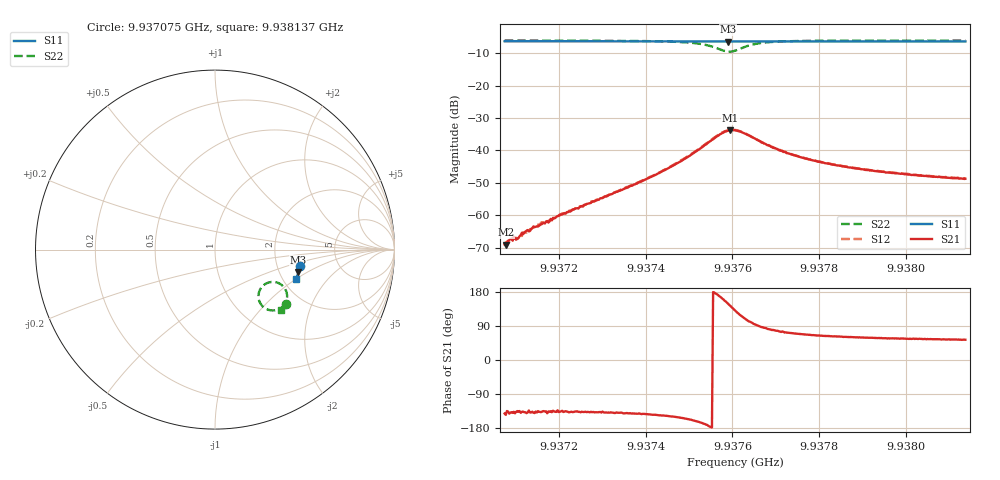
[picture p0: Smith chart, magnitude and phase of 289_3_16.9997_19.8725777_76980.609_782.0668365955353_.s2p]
#  HZ  S  RI  R  50.00
! Rohde & Schwarz Vector Network Analyzer
! Rohde-Schwarz,ZNB20-2Port,1311601062101988,3.16
! Created: UTC 3/20/2024, 11:05:02 PM
! freq[Hz]  re:S11  im:S11  re:S21  im:S21  re:S12  im:S12  re:S22  im:S22
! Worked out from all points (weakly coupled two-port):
!   401 points, 9.937075 GHz to 9.938137 GHz, reference 50 ohm
!   highest |S21| = -33.74 dB at 9.937595 GHz (marker M1); lowest = -69.1 dB at 9.937078 GHz (marker M2)
!   lowest |S11| = -6.4 dB at 9.93759 GHz (marker M3), VSWR 2.84, Z = 127 - j41.3 ohm
!   |S11| at or under -10 dB: nowhere
!   |S22| runs from -9.5 to -6.1 dB; largest |S21 - S12| = 0.00078
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9.9370749e9  0.4754 -0.0925  -0.000279 -0.000225  -0.000257 -0.00021  0.3944 -0.304
9.9370776e9  0.4754 -0.0927  -0.000286 -0.000202  -0.000296 -0.000227  0.3941 -0.3042
9.9370909e9  0.4752 -0.0936  -0.000323 -0.000293  -0.000314 -0.00026  0.3931 -0.3051
9.9371041e9  0.475 -0.0946  -0.000303 -0.000305  -0.000337 -0.000269  0.3922 -0.306
9.9371201e9  0.4746 -0.0955  -0.000393 -0.000356  -0.000415 -0.000348  0.3911 -0.3071
9.9371572e9  0.474 -0.0982  -0.000524 -0.000482  -0.000546 -0.000488  0.3882 -0.3099
9.9371997e9  0.4732 -0.1009  -0.000721 -0.000664  -0.00072 -0.000676  0.3846 -0.3133
9.9372528e9  0.4721 -0.1046  -0.001 -0.000953  -0.00102 -0.000921  0.3795 -0.3177
9.9374307e9  0.4684 -0.1167  -0.00369 -0.00248  -0.00377 -0.00252  0.3476 -0.3356
9.9374838e9  0.4669 -0.1202  -0.0062 -0.00316  -0.00639 -0.00314  0.3236 -0.3394
9.9375342e9  0.4652 -0.1237  -0.0115 -0.00237  -0.0118 -0.0022  0.2798 -0.3275
9.9375687e9  0.4637 -0.1254  -0.0168 0.0032  -0.0172 0.00363  0.2435 -0.2758
9.93759e9  0.463 -0.1258  -0.0172 0.0106  -0.0169 0.0113  0.2541 -0.2177
9.9375953e9  0.463 -0.126  -0.0163 0.0125  -0.016 0.013  0.2644 -0.2043
9.9376059e9  0.463 -0.1262  -0.0134 0.0155  -0.013 0.016  0.2915 -0.1859
9.9376324e9  0.4635 -0.1275  -0.00497 0.017  -0.00451 0.0173  0.3587 -0.1888
9.9376616e9  0.4635 -0.1298  0.000228 0.0141  0.000591 0.014  0.392 -0.2219
9.9377227e9  0.4625 -0.1342  0.0027 0.00887  0.003 0.00897  0.4014 -0.2689
9.9377838e9  0.4611 -0.1385  0.00293 0.00643  0.00304 0.00644  0.3963 -0.2911
9.9378714e9  0.4591 -0.1444  0.00266 0.00473  0.00281 0.0047  0.3878 -0.3083
9.9379616e9  0.4568 -0.1503  0.00249 0.00382  0.00254 0.00379  0.3801 -0.3194
9.9381368e9  0.4522 -0.1616  0.00217 0.00292  0.00226 0.00292  0.3675 -0.3343
